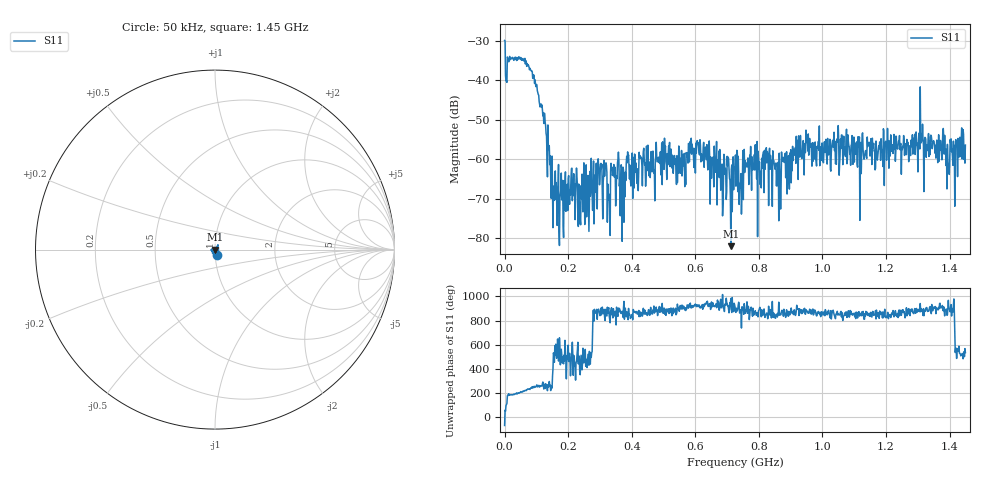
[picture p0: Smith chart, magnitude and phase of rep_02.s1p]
! Created with skrf 1.11.0 (http://scikit-rf.org).
# Hz S RI R 50.0
!freq ReS11 ImS11
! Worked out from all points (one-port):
!   1001 points, 50 kHz to 1.45 GHz, reference 50 ohm
!   lowest |S11| = -82.1 dB at 712 MHz (marker M1), VSWR 1.00, Z = 50 - j0.0078 ohm
!   |S11| at or under -10 dB: start of sweep to end of sweep
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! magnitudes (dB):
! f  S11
! 50 kHz  -29.8
! 85.6 MHz  -37.6
! 121.8 MHz  -48.2
! 158.1 MHz  -67.4
! 181.3 MHz  -66.2
! 213.2 MHz  -70.6
! 237.8 MHz  -75.2
! 300.2 MHz  -64.8
! 329.2 MHz  -68.9
! 340.8 MHz  -63.5
! 362.5 MHz  -65.6
! 430.7 MHz  -59.7
! 543.8 MHz  -65.9
! 609 MHz  -55.8
! 712 MHz  -82.1
! 725 MHz  -62.2
! 743.9 MHz  -63.7
! 759.8 MHz  -61.0
! 803.3 MHz  -66.4
! 829.4 MHz  -58.9
! 862.8 MHz  -75.7
! 906.3 MHz  -56.7
! 1.088 GHz  -58.6
! 1.269 GHz  -55.7
! 1.309 GHz  -54.9
! 1.379 GHz  -52.8
! 1.393 GHz  -56.2
! 1.45 GHz  -56.4
